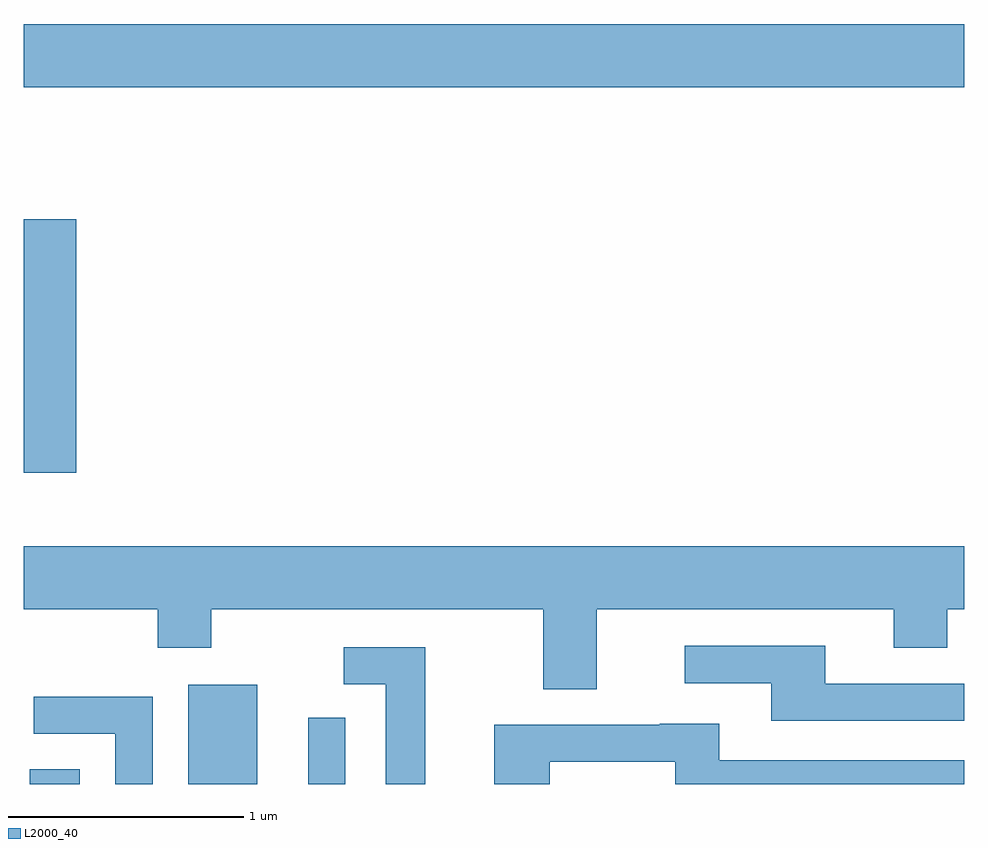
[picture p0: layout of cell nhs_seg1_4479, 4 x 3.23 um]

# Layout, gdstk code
import gdstk
lib = gdstk.Library(unit=1e-6, precision=1e-09)
def R(c, l, rs):  # rectangles x0, y0, x1, y1
    for r in rs: c.add(gdstk.rectangle(r[:2], r[2:], *l))
def P(c, l, *ps):  # polygons
    for p in ps: c.add(gdstk.Polygon(p, *l))
L2000_40 = (2000, 40)

nhs_seg1_4479 = lib.new_cell('nhs_seg1_4479')
R(nhs_seg1_4479, L2000_40, [(319.636,907.712,319.849,907.774), (320.311,907.712,320.604,908.134), (320.821,907.712,320.979,907.993), (319.611,909.036,319.834,910.114), (319.611,910.676,323.611,910.944)])
P(nhs_seg1_4479, L2000_40, [(319.611,908.456),(320.181,908.456),(320.181,908.291),(320.409,908.291),(320.409,908.456),(321.821,908.456),(321.821,908.116),(322.049,908.116),(322.049,908.456),(323.311,908.456),(323.311,908.291),(323.539,908.291),(323.539,908.456),(323.611,908.456),(323.611,908.724),(319.611,908.724)],
  [(323.611,908.139),(323.019,908.139),(323.019,908.299),(322.423,908.299),(322.423,908.141),(322.791,908.141),(322.791,907.981),(323.611,907.981)],
  [(321.319,908.294),(320.973,908.294),(320.973,908.136),(321.151,908.136),(321.151,907.712),(321.319,907.712)],
  [(320.159,908.084),(319.653,908.084),(319.653,907.926),(320.001,907.926),(320.001,907.712),(320.159,907.712)],
  [(321.849,907.806),(322.381,907.806),(322.381,907.712),(323.611,907.712),(323.611,907.814),(322.569,907.814),(322.569,907.969),(322.315,907.969),(322.315,907.964),(321.611,907.964),(321.611,907.712),(321.849,907.712)])

lib.write_gds('nhs_seg1_4479.gds')
